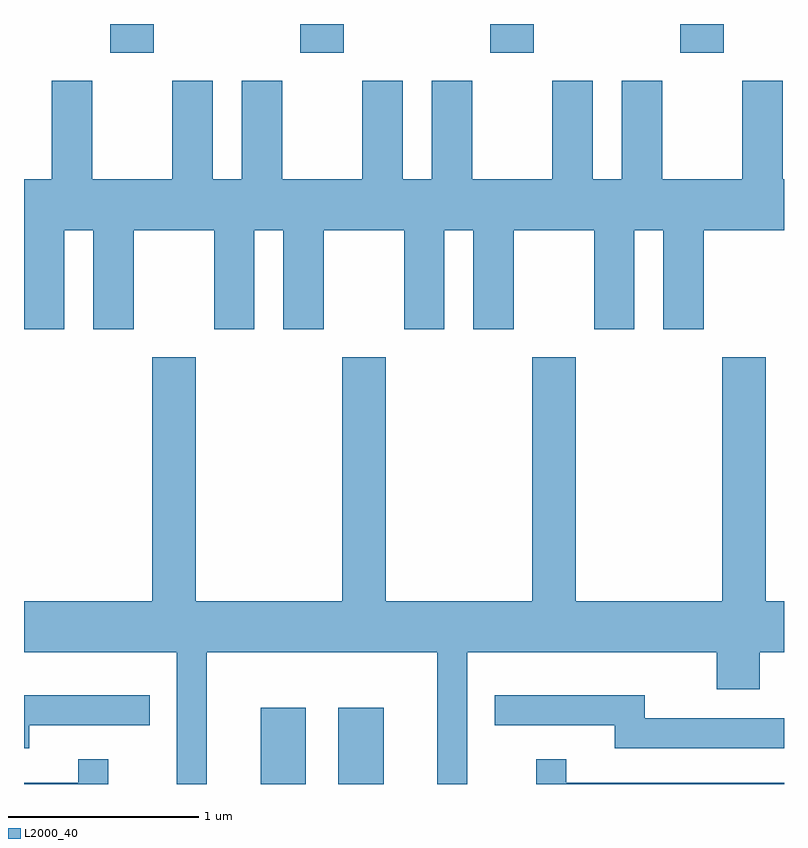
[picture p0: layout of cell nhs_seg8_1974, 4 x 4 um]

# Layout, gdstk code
import gdstk
lib = gdstk.Library(unit=1e-6, precision=1e-09)
def R(c, l, rs):  # rectangles x0, y0, x1, y1
    for r in rs: c.add(gdstk.rectangle(r[:2], r[2:], *l))
def A(c, l, x, y, w, h, nx, ny, dx, dy):  # array of equal rectangles
    R(c, l, [(x+i*dx, y+j*dy, x+i*dx+w, y+j*dy+h) for i in range(nx) for j in range(ny)])
def P(c, l, *ps):  # polygons
    for p in ps: c.add(gdstk.Polygon(p, *l))
L2000_40 = (2000, 40)

nhs_seg8_1974 = lib.new_cell('nhs_seg8_1974')
A(nhs_seg8_1974, L2000_40, 244.066, 1886.191, 0.228, 0.151, 4, 1, 1, 0)
R(nhs_seg8_1974, L2000_40, [(244.856,1882.342,245.094,1882.744), (245.266,1882.342,245.504,1882.744)])
P(nhs_seg8_1974, L2000_40, [(243.824,1885.256),(243.976,1885.256),(243.976,1884.736),(244.189,1884.736),(244.189,1885.256),(244.611,1885.256),(244.611,1884.736),(244.824,1884.736),(244.824,1885.256),(244.976,1885.256),(244.976,1884.736),(245.189,1884.736),(245.189,1885.256),(245.611,1885.256),(245.611,1884.736),(245.824,1884.736),(245.824,1885.256),(245.976,1885.256),(245.976,1884.736),(246.189,1884.736),(246.189,1885.256),(246.611,1885.256),(246.611,1884.736),(246.824,1884.736),(246.824,1885.256),(246.976,1885.256),(246.976,1884.736),(247.189,1884.736),(247.189,1885.256),(247.611,1885.256),(247.611,1885.524),(247.604,1885.524),(247.604,1886.044),(247.391,1886.044),(247.391,1885.524),(246.969,1885.524),(246.969,1886.044),(246.756,1886.044),(246.756,1885.524),(246.604,1885.524),(246.604,1886.044),(246.391,1886.044),(246.391,1885.524),(245.969,1885.524),(245.969,1886.044),(245.756,1886.044),(245.756,1885.524),(245.604,1885.524),(245.604,1886.044),(245.391,1886.044),(245.391,1885.524),(244.969,1885.524),(244.969,1886.044),(244.756,1886.044),(244.756,1885.524),(244.604,1885.524),(244.604,1886.044),(244.391,1886.044),(244.391,1885.524),(243.969,1885.524),(243.969,1886.044),(243.756,1886.044),(243.756,1885.524),(243.611,1885.524),(243.611,1884.736),(243.824,1884.736)],
  [(244.574,1883.036),(245.786,1883.036),(245.786,1882.342),(245.944,1882.342),(245.944,1883.036),(247.256,1883.036),(247.256,1882.841),(247.484,1882.841),(247.484,1883.036),(247.611,1883.036),(247.611,1883.304),(247.514,1883.304),(247.514,1884.589),(247.286,1884.589),(247.286,1883.304),(246.514,1883.304),(246.514,1884.589),(246.286,1884.589),(246.286,1883.304),(245.514,1883.304),(245.514,1884.589),(245.286,1884.589),(245.286,1883.304),(244.514,1883.304),(244.514,1884.589),(244.286,1884.589),(244.286,1883.304),(243.611,1883.304),(243.611,1883.036),(244.416,1883.036),(244.416,1882.342),(244.574,1882.342)],
  [(247.611,1882.689),(246.879,1882.689),(246.879,1882.809),(246.088,1882.809),(246.088,1882.651),(246.721,1882.651),(246.721,1882.531),(247.611,1882.531)],
  [(243.639,1882.651),(244.273,1882.651),(244.273,1882.809),(243.611,1882.809),(243.611,1882.531),(243.639,1882.531)],
  [(244.054,1882.473),(243.896,1882.473),(243.896,1882.349),(243.611,1882.349),(243.611,1882.342),(244.054,1882.342)],
  [(247.611,1882.349),(246.464,1882.349),(246.464,1882.473),(246.306,1882.473),(246.306,1882.342),(247.611,1882.342)])

lib.write_gds('nhs_seg8_1974.gds')
